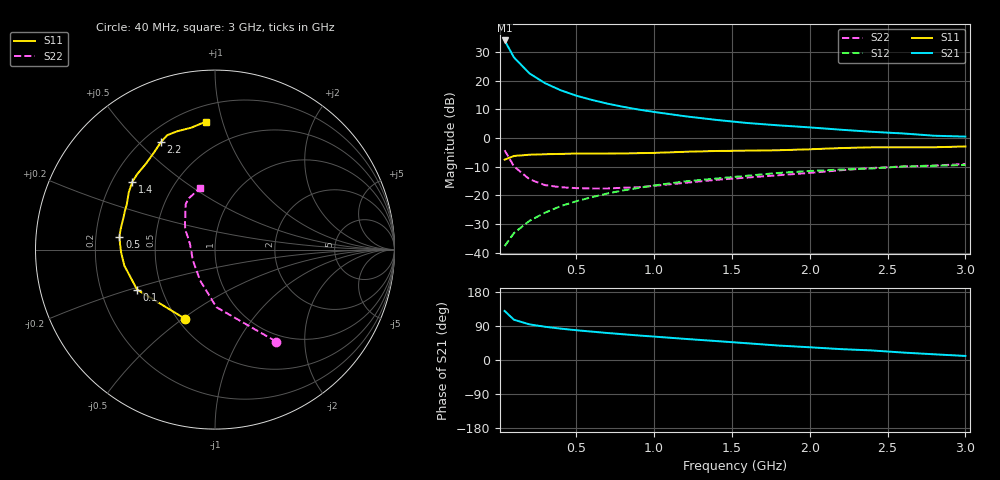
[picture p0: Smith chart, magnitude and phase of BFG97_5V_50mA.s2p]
! Filename:  BFG97C.S2P  Version:  2.0
! Philips part #: BFG97  Date: Jul 1990
! Bias condition: Vce=5V, Ic=50mA
#  MHz  S  MA  R  50
! Freq  S11  S21  S12  S22  !GUM [dB]
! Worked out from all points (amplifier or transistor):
!   21 points, 40 MHz to 3 GHz, reference 50 ohm
!   highest |S21| = 34.1 dB at 40 MHz (marker M1)
!   |S21| within 3 dB of that: start of sweep to 70.42 MHz
!   unconditionally stable (mu >= 1): 240.7 MHz to 2.981 GHz
!   at 300 MHz: K = 1.04, MAG = 21.4 dB, |S12| = -26.0 dB
!   at 1 GHz: K = 1.09, MAG = 11.0 dB, |S12| = -16.5 dB
!   at 3 GHz: K = 1.00, MSG = 4.9 dB, |S12| = -9.4 dB
!   S11 on the Smith chart (normalised r, x): 40 MHz: 0.55, -0.51; 100 MHz: 0.36, -0.21; 500 MHz: 0.30, +0.06; 1.4 GHz: 0.28, +0.33; 2.2 GHz: 0.27, +0.58; 3 GHz: 0.30, +0.88
40  0.42 -113.4  50.61 129.5  0.013 63.8  0.615 -56.4
100  0.488 -152.8  25.61 106.2  0.022 63.3  0.321 -88.6
200  0.513 -170.0  13.45 94.0  0.036 67.7  0.191 -115.8
300  0.523 -178.1  9.075 87.7  0.05 69.9  0.151 -134.8
400  0.53 176.7  6.846 82.8  0.065 71.0  0.139 -148.6
500  0.537 172.3  5.506 78.6  0.079 70.3  0.134 -159.6
600  0.538 168.4  4.647 74.9  0.093 70.0  0.132 -167.7
700  0.538 164.7  4 71.3  0.108 69.3  0.132 -175.2
800  0.54 160.8  3.525 68.0  0.122 67.6  0.136 177.7
900  0.546 156.9  3.151 64.7  0.135 66.9  0.139 171.0
1000  0.552 153.0  2.862 61.8  0.149 65.6  0.147 164.7
1200  0.577 146.3  2.404 55.7  0.176 62.5  0.166 155.6
1400  0.596 140.6  2.079 50.0  0.197 59.6  0.187 149.2
1600  0.604 135.7  1.833 44.1  0.221 57.5  0.205 144.1
1800  0.614 128.8  1.669 38.1  0.247 52.8  0.225 138.1
2000  0.638 122.3  1.538 33.6  0.267 50.7  0.247 132.0
2200  0.67 116.8  1.4 28.7  0.283 47.3  0.275 126.8
2400  0.691 112.6  1.288 25.2  0.295 46.2  0.301 122.8
2600  0.692 107.6  1.205 19.6  0.32 42.2  0.32 117.7
2800  0.692 101.0  1.1 15.0  0.328 37.3  0.332 111.0
3000  0.715 94.1  1.062 10.7  0.34 35.6  0.353 104.0
